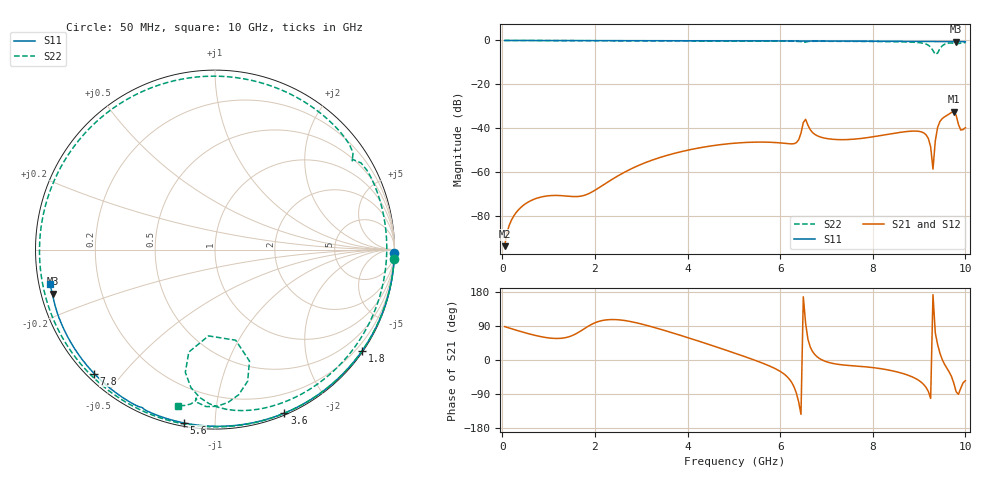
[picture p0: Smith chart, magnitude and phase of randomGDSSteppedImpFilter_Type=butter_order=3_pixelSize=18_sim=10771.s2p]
! freq	dB(S11)	phase(S11)	dB(S12)	phase(S12)
!  dB(S21)	phase(S21)	dB(S22)	phase(S22)
!S-par simulation data
#  GHz  S  DB  R 50
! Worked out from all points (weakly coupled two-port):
!   200 points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, 50 MHz to 10 GHz, reference 50 ohm
!   highest |S21| = -32.37 dB at 9.75 GHz (marker M1); lowest = -93.5 dB at 50 MHz (marker M2)
!   lowest |S11| = -0.6 dB at 9.8 GHz (marker M3), VSWR 31.02, Z = 1.64 - j6.64 ohm
!   |S11| at or under -10 dB: nowhere
!   |S22| runs from -6.3 to 0.0 dB; largest |S21 - S12| = 0
!   S11 on the Smith chart (normalised r, x): 50 MHz: open; 1.8 GHz: 0.03, -3.22; 3.6 GHz: 0.02, -1.51; 5.6 GHz: 0.02, -0.84; 7.8 GHz: 0.02, -0.42; 10 GHz: 0.03, -0.10
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0.05  -0.00 -1.0  -93.51 88.1  -93.51 88.1  -0.00 -2.9
0.95  -0.02 -18.4  -70.72 59.1  -70.72 59.1  -0.07 -53.9
1.75  -0.04 -33.6  -70.52 81.0  -70.52 81.0  -0.11 -95.9
1.8  -0.04 -34.5  -70.19 84.9  -70.19 84.9  -0.11 -98.5
3.4  -0.08 -63.5  -53.23 81.7  -53.23 81.7  -0.19 -173.6
3.6  -0.09 -67.0  -51.97 74.4  -51.97 74.4  -0.20 177.3
5.05  -0.14 -91.4  -46.64 16.8  -46.64 16.8  -0.28 108.6
5.6  -0.17 -100.3  -46.20 -7.3  -46.20 -7.3  -0.31 80.6
6.35  -0.21 -112.1  -46.45 -87.4  -46.45 -87.4  -0.40 40.9
6.55  -0.27 -115.0  -35.85 96.8  -35.85 96.8  -0.76 33.3
6.7  -0.23 -117.3  -41.85 22.2  -41.85 22.2  -0.38 24.7
7.8  -0.31 -134.2  -44.41 -17.6  -44.41 -17.6  -0.44 -29.9
8.35  -0.36 -142.6  -42.57 -26.7  -42.57 -26.7  -0.53 -54.8
9.1  -0.44 -154.0  -42.02 -64.6  -42.02 -64.6  -1.33 -92.2
9.25  -0.46 -156.4  -48.36 -101.4  -48.36 -101.4  -3.05 -103.6
9.3  -0.46 -157.2  -58.47 172.5  -58.47 172.5  -4.59 -104.3
9.35  -0.47 -157.9  -45.65 71.8  -45.65 71.8  -6.34 -94.3
9.4  -0.48 -158.7  -39.55 41.0  -39.55 41.0  -5.72 -77.1
9.75  -0.55 -164.2  -32.37 -61.2  -32.37 -61.2  -1.33 -96.5
9.8  -0.56 -164.9  -34.01 -83.7  -34.01 -83.7  -1.58 -97.2
9.9  -0.55 -166.4  -40.75 -74.5  -40.75 -74.5  -1.20 -98.9
10  -0.56 -168.1  -39.65 -54.4  -39.65 -54.4  -0.97 -103.4
